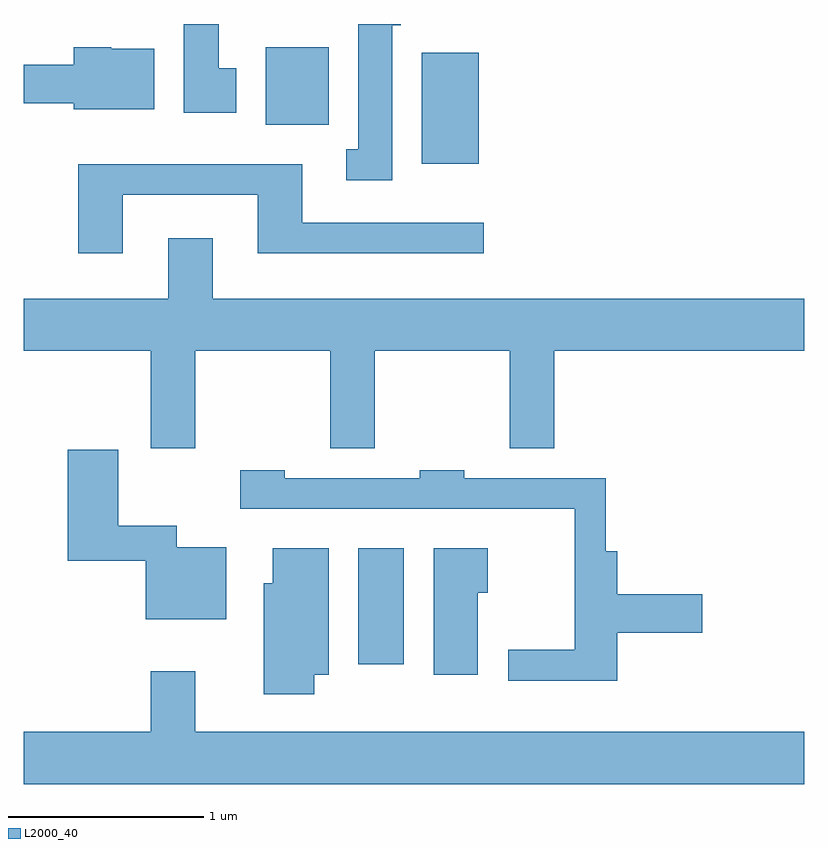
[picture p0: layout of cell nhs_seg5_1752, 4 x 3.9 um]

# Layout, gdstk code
import gdstk
lib = gdstk.Library(unit=1e-6, precision=1e-09)
def R(c, l, rs):  # rectangles x0, y0, x1, y1
    for r in rs: c.add(gdstk.rectangle(r[:2], r[2:], *l))
def P(c, l, *ps):  # polygons
    for p in ps: c.add(gdstk.Polygon(p, *l))
L2000_40 = (2000, 40)

nhs_seg5_1752 = lib.new_cell('nhs_seg5_1752')
R(nhs_seg5_1752, L2000_40, [(239.326,1410.791,239.559,1411.384), (239.651,1413.356,239.944,1413.924), (238.851,1413.556,239.174,1413.954)])
P(nhs_seg5_1752, L2000_40, [(238.699,1413.844),(238.609,1413.844),(238.609,1414.072),(238.431,1414.072),(238.431,1413.616),(238.699,1413.616)],
  [(239.499,1414.066),(239.544,1414.066),(239.544,1414.072),(239.326,1414.072),(239.326,1413.429),(239.263,1413.429),(239.263,1413.271),(239.499,1413.271)],
  [(238.279,1413.944),(238.06,1413.944),(238.06,1413.954),(237.866,1413.954),(237.866,1413.864),(237.611,1413.864),(237.611,1413.666),(237.866,1413.666),(237.866,1413.636),(238.279,1413.636)],
  [(238.119,1413.196),(238.811,1413.196),(238.811,1412.896),(239.968,1412.896),(239.968,1413.054),(239.039,1413.054),(239.039,1413.354),(237.891,1413.354),(237.891,1412.896),(238.119,1412.896)],
  [(238.489,1412.396),(239.181,1412.396),(239.181,1411.896),(239.409,1411.896),(239.409,1412.396),(240.101,1412.396),(240.101,1411.896),(240.329,1411.896),(240.329,1412.396),(241.611,1412.396),(241.611,1412.664),(238.579,1412.664),(238.579,1412.974),(238.351,1412.974),(238.351,1412.664),(237.611,1412.664),(237.611,1412.396),(238.261,1412.396),(238.261,1411.896),(238.489,1411.896)],
  [(238.649,1411.389),(238.394,1411.389),(238.394,1411.499),(238.094,1411.499),(238.094,1411.889),(237.836,1411.889),(237.836,1411.321),(238.236,1411.321),(238.236,1411.021),(238.649,1411.021)],
  [(240.654,1410.951),(241.089,1410.951),(241.089,1411.149),(240.654,1411.149),(240.654,1411.369),(240.594,1411.369),(240.594,1411.744),(239.869,1411.744),(239.869,1411.784),(239.641,1411.784),(239.641,1411.744),(238.949,1411.744),(238.949,1411.784),(238.721,1411.784),(238.721,1411.586),(240.436,1411.586),(240.436,1410.864),(240.093,1410.864),(240.093,1410.706),(240.654,1410.706)],
  [(239.939,1411.156),(239.989,1411.156),(239.989,1411.384),(239.711,1411.384),(239.711,1410.736),(239.939,1410.736)],
  [(239.099,1410.736),(239.174,1410.736),(239.174,1411.384),(238.886,1411.384),(238.886,1411.204),(238.841,1411.204),(238.841,1410.636),(239.099,1410.636)],
  [(241.611,1410.444),(238.489,1410.444),(238.489,1410.754),(238.261,1410.754),(238.261,1410.444),(237.611,1410.444),(237.611,1410.176),(241.611,1410.176)])

lib.write_gds('nhs_seg5_1752.gds')
